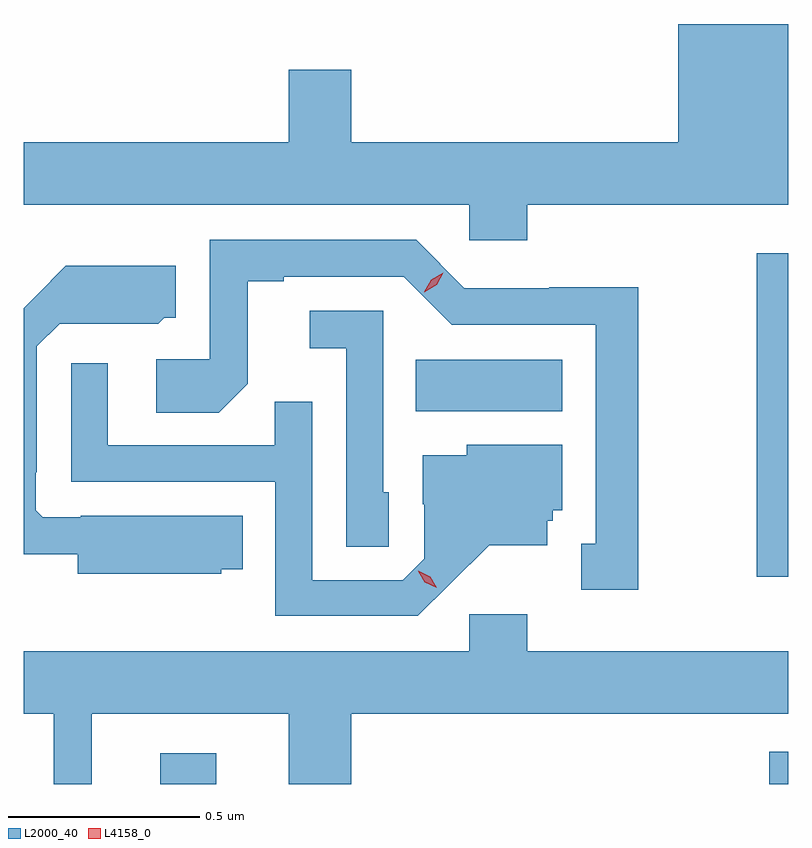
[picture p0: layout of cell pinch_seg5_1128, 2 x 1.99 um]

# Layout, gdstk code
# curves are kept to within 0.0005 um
import gdstk
lib = gdstk.Library(unit=1e-6, precision=1e-09)
def R(c, l, rs):  # rectangles x0, y0, x1, y1
    for r in rs: c.add(gdstk.rectangle(r[:2], r[2:], *l))
def P(c, l, *ps):  # polygons
    for p in ps: c.add(gdstk.Polygon(p, *l))
L2000_40 = (2000, 40)
L4158_0 = (4158, 0)

pinch_seg5_1128 = lib.new_cell('pinch_seg5_1128')
R(pinch_seg5_1128, L2000_40, [(800.036,863.236,800.182,863.317), (801.63,863.236,801.679,863.32), (801.597,863.778,801.679,864.625), (800.704,864.212,801.088,864.346)])
P(pinch_seg5_1128, L2000_40, [(800.996,864.752),(801.679,864.752),(801.679,865.225),(801.392,865.225),(801.392,864.916),(800.536,864.916),(800.536,865.105),(800.372,865.105),(800.372,864.916),(799.679,864.916),(799.679,864.752),(800.844,864.752),(800.844,864.659),(800.996,864.659)],
  [(801.287,864.536),(801.054,864.536),(801.054,864.534),(800.832,864.534),(800.706,864.66),(800.166,864.66),(800.166,864.348),(800.025,864.348),(800.025,864.208),(800.189,864.208),(800.265,864.284),(800.265,864.552),(800.359,864.552),(800.359,864.564),(800.673,864.564),(800.799,864.438),(801.176,864.438),(801.176,863.865),(801.137,863.865),(801.137,863.745),(801.287,863.745)],
  [(800.196,863.798),(800.252,863.798),(800.252,863.938),(799.828,863.938),(799.828,863.934),(799.728,863.934),(799.71,863.952),(799.71,864.052),(799.713,864.052),(799.713,864.381),(799.773,864.441),(799.896,864.441),(799.896,864.44),(800.03,864.44),(800.046,864.456),(800.077,864.456),(800.077,864.592),(799.789,864.592),(799.679,864.481),(799.679,863.837),(799.82,863.837),(799.82,863.786),(800.196,863.786)],
  [(800.634,864),(800.619,864),(800.619,864.474),(800.427,864.474),(800.427,864.377),(800.523,864.377),(800.523,863.857),(800.634,863.857)],
  [(800.794,863.759),(800.897,863.861),(801.049,863.861),(801.049,863.925),(801.063,863.925),(801.063,863.952),(801.088,863.952),(801.088,864.124),(800.838,864.124),(800.838,864.097),(800.723,864.097),(800.723,863.968),(800.727,863.968),(800.727,863.826),(800.67,863.769),(800.433,863.769),(800.433,864.236),(800.335,864.236),(800.335,864.123),(799.899,864.123),(799.899,864.337),(799.803,864.337),(799.803,864.027),(800.337,864.027),(800.337,863.676),(800.71,863.676)],
  [(799.856,863.42),(800.372,863.42),(800.372,863.236),(800.536,863.236),(800.536,863.42),(801.679,863.42),(801.679,863.584),(800.996,863.584),(800.996,863.68),(800.844,863.68),(800.844,863.584),(799.679,863.584),(799.679,863.42),(799.757,863.42),(799.757,863.236),(799.856,863.236)])
P(pinch_seg5_1128, L4158_0, [(800.727,864.523),(800.727,864.524),(800.745,864.556),(800.777,864.574),(800.777,864.574),(800.777,864.574),(800.759,864.542),(800.727,864.523)],
  [(800.76,863.749),(800.728,863.764),(800.711,863.793),(800.711,863.794),(800.711,863.794),(800.742,863.779),(800.76,863.749),(800.76,863.749)])

lib.write_gds('pinch_seg5_1128.gds')
